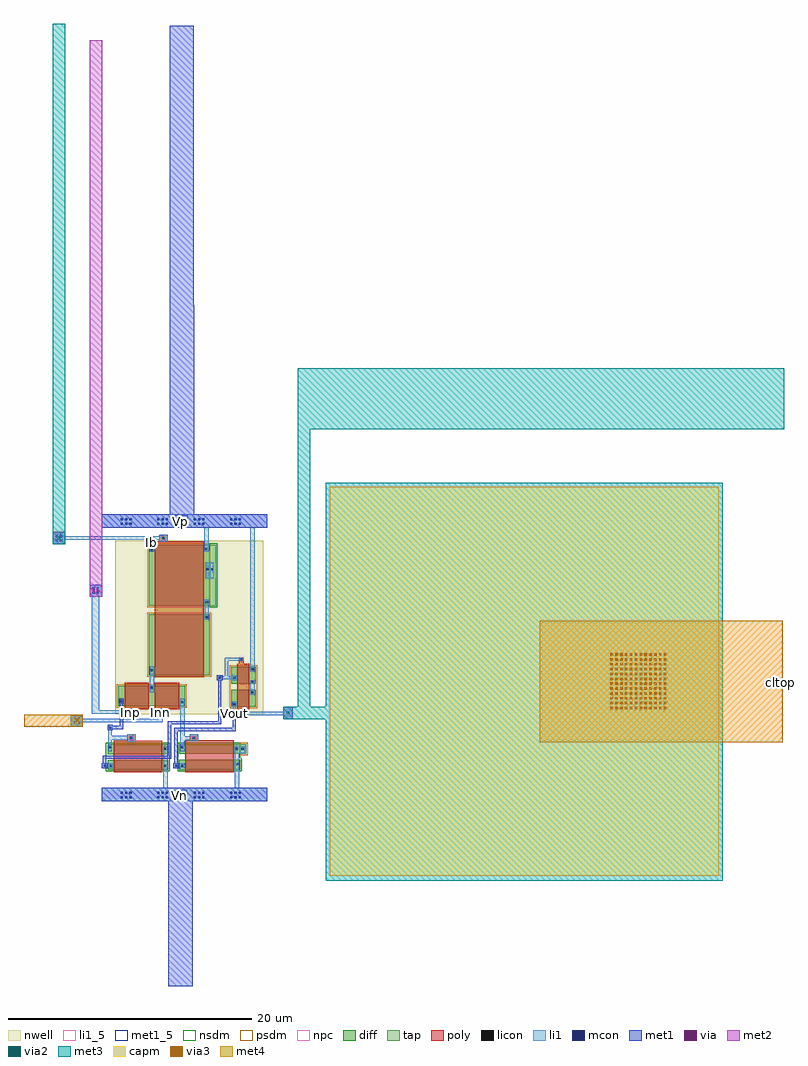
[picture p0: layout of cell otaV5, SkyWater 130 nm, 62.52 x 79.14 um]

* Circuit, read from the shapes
.subckt otaV5 Ib Inn Inp Vn Vout Vp cltop
XM1 Vn n1 n2 Vn sky130_fd_pr__nfet_01v8 w=0.8 l=4
XM2 Vn n1 n1 Vn sky130_fd_pr__nfet_01v8 w=0.8 l=4
XM3 Vn n3 Vout Vn sky130_fd_pr__nfet_01v8 w=0.8 l=4
XM4 Vn n3 n3 Vn sky130_fd_pr__nfet_01v8 w=0.8 l=4
XM5 n4 Inp n1 Vp sky130_fd_pr__pfet_01v8 w=1.7 l=2
XM6 n3 Inn n4 Vp sky130_fd_pr__pfet_01v8 w=1.7 l=2
XM7 Vp Ib n4 Vp sky130_fd_pr__pfet_01v8 w=5 l=4
XM8 Vp Ib Ib Vp sky130_fd_pr__pfet_01v8 w=5 l=4
XM9 Vp n2 Vout Vp sky130_fd_pr__pfet_01v8 w=1.4 l=1
XM10 Vp n2 n2 Vp sky130_fd_pr__pfet_01v8 w=1.4 l=1
XC11 cltop Vout sky130_fd_pr__cap_mim_m3_1 w=32 l=32
.ends

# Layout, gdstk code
import gdstk
lib = gdstk.Library(unit=1e-6, precision=1e-09)
def R(c, l, rs):  # rectangles x0, y0, x1, y1
    for r in rs: c.add(gdstk.rectangle(r[:2], r[2:], *l))
def A(c, l, x, y, w, h, nx, ny, dx, dy):  # array of equal rectangles
    R(c, l, [(x+i*dx, y+j*dy, x+i*dx+w, y+j*dy+h) for i in range(nx) for j in range(ny)])
nwell = (64, 20)
diff = (65, 20)
tap = (65, 44)
poly = (66, 20)
licon = (66, 44)
li1_5 = (67, 5)
li1 = (67, 20)
mcon = (67, 44)
met1_5 = (68, 5)
met1 = (68, 20)
via = (68, 44)
met2 = (69, 20)
via2 = (69, 44)
met3 = (70, 20)
via3 = (70, 44)
met4 = (71, 20)
capm = (89, 44)
nsdm = (93, 44)
psdm = (94, 20)
npc = (95, 20)

otav5 = lib.new_cell('otaV5')
R(otav5, nwell, [(35.09,8.33,47.27,22.6)])
R(otav5, diff, [(34.45,3.75,39.45,4.55), (40.35,3.77,45.35,4.57), (34.45,5.05,39.45,5.85), (40.35,5.07,45.35,5.87), (44.63,8.93,46.63,10.33), (35.35,8.98,40.85,10.68), (44.63,10.83,46.63,12.23), (37.85,11.55,42.85,16.55), (37.85,17.25,42.85,22.25)])
R(otav5, tap, [(45.35,5.07,45.85,5.87), (42.85,17.25,43.35,22.25)])
R(otav5, poly, [(34.95,3.55,38.95,6.15), (40.85,3.57,44.85,6.17), (36.06,6.15,36.76,6.68), (41.2,6.17,41.9,6.7), (36,8.2,36.7,8.73), (38.5,8.2,39.2,8.73), (45.13,8.68,46.13,12.48), (35.85,8.73,37.85,10.93), (38.35,8.73,40.35,10.93), (38.35,11.35,42.35,22.55), (45.24,12.48,45.65,12.98), (38.7,22.55,39.4,23.1)])
R(otav5, licon, [(34.62,4.02,34.79,4.19), (39.12,4.02,39.29,4.19), (40.52,4.02,40.69,4.19), (45.02,4.12,45.19,4.29), (45.47,5.415,45.64,5.585), (39.12,5.42,39.29,5.59), (45,5.42,45.17,5.59), (40.53,5.52,40.7,5.69), (34.585,5.545,34.755,5.715), (41.465,6.265,41.635,6.435), (36.325,6.305,36.495,6.475), (36.265,8.415,36.435,8.585), (38.765,8.415,38.935,8.585), (44.79,9.07,44.96,9.24), (40.51,9.22,40.68,9.39), (35.51,9.32,35.68,9.49), (46.27,10.04,46.44,10.21), (38.01,10.42,38.18,10.59), (46.28,10.91,46.45,11.08), (44.78,11.24,44.95,11.41), (38.02,11.87,38.19,12.04), (46.29,11.95,46.46,12.12), (45.35,12.73,45.52,12.9), (42.51,16.22,42.68,16.39), (42.51,17.47,42.68,17.64), (42.59,20.165,42.76,20.335), (42.97,20.165,43.14,20.335), (38.02,21.79,38.19,21.96), (42.5,21.84,42.67,22.01), (38.965,22.715,39.135,22.885)])
R(otav5, li1_5, [(36.02,8.23,36.68,8.79), (38.55,8.25,39.14,8.65), (37.92,21.98,38.29,22.97)])
R(otav5, li1, [(33.96,1.17,47.59,2.26), (39.02,2.26,39.39,5.7), (44.92,2.26,45.29,5.1), (33.96,3.9,34.89,4.3), (39.85,3.9,40.41,3.91), (39.85,3.91,40.8,4.3), (44.92,5.1,45.73,5.7), (34.53,5.3,34.8,6.24), (40.42,5.3,40.79,6.2), (36.06,6.08,36.76,6.24), (41.2,6.1,41.9,6.2), (40.42,6.2,41.9,6.5), (34.53,6.24,36.76,6.54), (40.42,6.5,40.79,9.6), (41.2,6.5,41.9,6.7), (34.53,6.54,34.8,7), (36.06,6.54,36.76,6.68), (34.46,7,34.89,7.48), (31.43,7.3,32.43,7.65), (31.43,7.65,39,7.95), (48.9,7.93,49.7,8.25), (31.43,7.95,32.43,8.3), (38.7,7.95,39,8.2), (36,8.2,36.7,8.35), (38.5,8.2,39.2,8.8), (44.63,8.2,45.13,8.25), (44.63,8.25,49.7,8.55), (33.17,8.35,36.7,8.65), (44.63,8.55,45.13,8.6), (48.9,8.55,49.7,8.93), (44.74,8.6,45.01,8.95), (33.17,8.65,33.77,17.99), (36,8.65,36.7,8.8), (44.7,8.95,45.05,9.35), (35.4,9.2,35.8,9.6), (46.18,9.93,46.55,11.13), (37.91,10.15,38.28,12.27), (44.68,11.12,45.05,11.2), (43.43,11.13,43.93,11.2), (43.43,11.2,45.05,11.47), (43.43,11.47,43.93,11.53), (44.1,11.47,44.37,12.71), (44.68,11.47,45.05,11.52), (46.19,11.84,46.56,23.67), (44.1,12.71,45.65,12.98), (42.43,16.1,42.76,17.8), (33,17.99,34,18.99), (42.5,19.5,43.2,20.8), (37.92,21.69,38.29,22.7), (42.4,21.74,42.77,23.67), (29.96,22.32,30.96,22.7), (38.7,22.51,39.4,22.7), (29.96,22.7,39.4,22.97), (29.96,22.97,30.96,23.32), (38.7,22.97,39.4,23.1), (33.97,23.67,47.59,24.76)])
A(otav5, mcon, 35.535, 1.42, 0.17, 0.17, 3, 2, 0.36, 0.36)
A(otav5, mcon, 38.535, 1.42, 0.17, 0.17, 3, 2, 0.36, 0.36)
A(otav5, mcon, 41.535, 1.42, 0.17, 0.17, 3, 2, 0.36, 0.36)
A(otav5, mcon, 44.535, 1.42, 0.17, 0.17, 3, 2, 0.36, 0.36)
A(otav5, mcon, 35.535, 23.92, 0.17, 0.17, 3, 2, 0.36, 0.36)
A(otav5, mcon, 38.535, 23.92, 0.17, 0.17, 3, 2, 0.36, 0.36)
A(otav5, mcon, 41.535, 23.92, 0.17, 0.17, 3, 2, 0.36, 0.36)
A(otav5, mcon, 44.535, 23.92, 0.17, 0.17, 3, 2, 0.36, 0.36)
R(otav5, mcon, [(34.12,4.02,34.29,4.19), (40.01,4.02,40.18,4.19), (34.58,7.14,34.75,7.31), (31.665,7.55,31.835,7.72), (32.025,7.55,32.195,7.72), (31.665,7.91,31.835,8.08), (32.025,7.91,32.195,8.08), (44.79,8.32,44.96,8.49), (49.225,8.365,49.395,8.535), (35.51,9.32,35.68,9.49), (43.59,11.25,43.76,11.42), (33.21,18.23,33.38,18.4), (33.57,18.23,33.74,18.4), (33.21,18.59,33.38,18.76), (33.57,18.59,33.74,18.76), (30.185,22.545,30.355,22.715), (30.545,22.545,30.715,22.715), (30.185,22.905,30.355,23.075), (30.545,22.905,30.715,23.075)])
R(otav5, met1_5, [(39.83,1.18,40.99,2.11), (44.66,8.25,45.11,8.58), (39.89,23.75,41.05,24.68)])
R(otav5, met1, [(39.46,-14.03,41.46,1.17), (33.96,1.17,47.59,2.26), (33.96,3.9,34.46,4.3), (39.85,3.9,40.35,4.3), (34.07,4.3,34.34,4.66), (39.96,4.3,40.23,6.93), (34.07,4.66,39.68,4.93), (39.41,4.93,39.68,7.49), (39.96,6.93,45.01,7.2), (34.46,7,34.89,7.09), (34.46,7.09,35.73,7.36), (44.74,7.2,45.01,8.2), (31.43,7.3,32.43,8.3), (34.46,7.36,34.89,7.48), (35.46,7.36,35.73,9.2), (39.41,7.49,43.81,7.76), (43.54,7.76,43.81,11.13), (48.9,7.93,49.7,8.93), (44.63,8.2,45.13,8.6), (35.4,9.2,35.8,9.6), (43.43,11.13,43.93,11.53), (33,17.99,34,18.99), (29.96,22.32,30.96,23.32), (33.97,23.67,47.59,24.76), (39.57,24.76,41.57,39.96), (39.56,39.96,41.57,41.97), (39.56,41.97,41.56,64.96)])
R(otav5, via, [(31.695,7.58,31.845,7.73), (32.015,7.58,32.165,7.73), (31.695,7.9,31.845,8.05), (32.015,7.9,32.165,8.05), (49.235,8.375,49.385,8.525), (33.24,18.42,33.39,18.57), (33.56,18.42,33.71,18.57), (30.215,22.575,30.365,22.725), (30.535,22.575,30.685,22.725), (30.215,22.895,30.365,23.045), (30.535,22.895,30.685,23.045)])
R(otav5, met2, [(31.43,7.3,32.43,8.3), (48.9,7.93,49.7,8.93), (33,17.99,34,63.76), (29.96,22.32,30.96,23.32)])
R(otav5, via2, [(31.83,7.715,32.03,7.915), (49.21,8.35,49.41,8.55), (30.35,22.71,30.55,22.91)])
R(otav5, met3, [(52.42,-5.37,85.06,7.93), (31.43,7.3,32.43,8.3), (50.11,7.92,51.11,7.93), (48.9,7.93,85.06,8.93), (50.11,8.93,51.11,31.78), (52.42,8.93,85.06,27.36), (29.96,22.32,30.96,65.11), (50.1,31.78,90.1,36.78)])
A(otav5, via3, 75.82, 8.74, 0.2, 0.2, 12, 12, 0.4, 0.4)
R(otav5, via3, [(31.83,7.715,32.03,7.915)])
R(otav5, met4, [(70.01,6.02,90.01,16.02), (27.58,7.3,32.43,8.3)])
R(otav5, capm, [(52.72,-4.97,84.72,27.03)])
R(otav5, nsdm, [(34.325,3.625,39.575,5.975), (40.225,3.645,45.475,4.695), (40.225,4.695,45.35,5.995), (42.85,17.125,43.475,22.375)])
R(otav5, psdm, [(45.35,4.945,45.975,5.995), (44.505,8.805,46.755,12.355), (35.225,8.855,40.975,10.805), (37.725,11.425,42.975,16.675), (37.725,17.125,42.85,22.375)])
R(otav5, npc, [(41.365,6.165,41.735,6.535), (36.225,6.205,36.595,6.575), (36.165,8.315,36.535,8.685), (38.665,8.315,39.035,8.685), (45.25,12.63,45.62,13), (38.865,22.615,39.235,22.985)])
otav5.add(gdstk.Label('Inp', (36.35,8.51), layer=67, texttype=5))
otav5.add(gdstk.Label('Inn', (38.845,8.45), layer=67, texttype=5))
otav5.add(gdstk.Label('Ib', (38.105,22.475), layer=67, texttype=5))
otav5.add(gdstk.Label('Vout', (44.885,8.415), layer=68, texttype=5))
otav5.add(gdstk.Label('Vp', (40.47,24.215), layer=68, texttype=5))
otav5.add(gdstk.Label('Vn', (40.41,1.645), layer=68, texttype=5))
otav5.add(gdstk.Label('cltop', (89.79,10.91), layer=71, texttype=5))

lib.write_gds('otaV5.gds')
